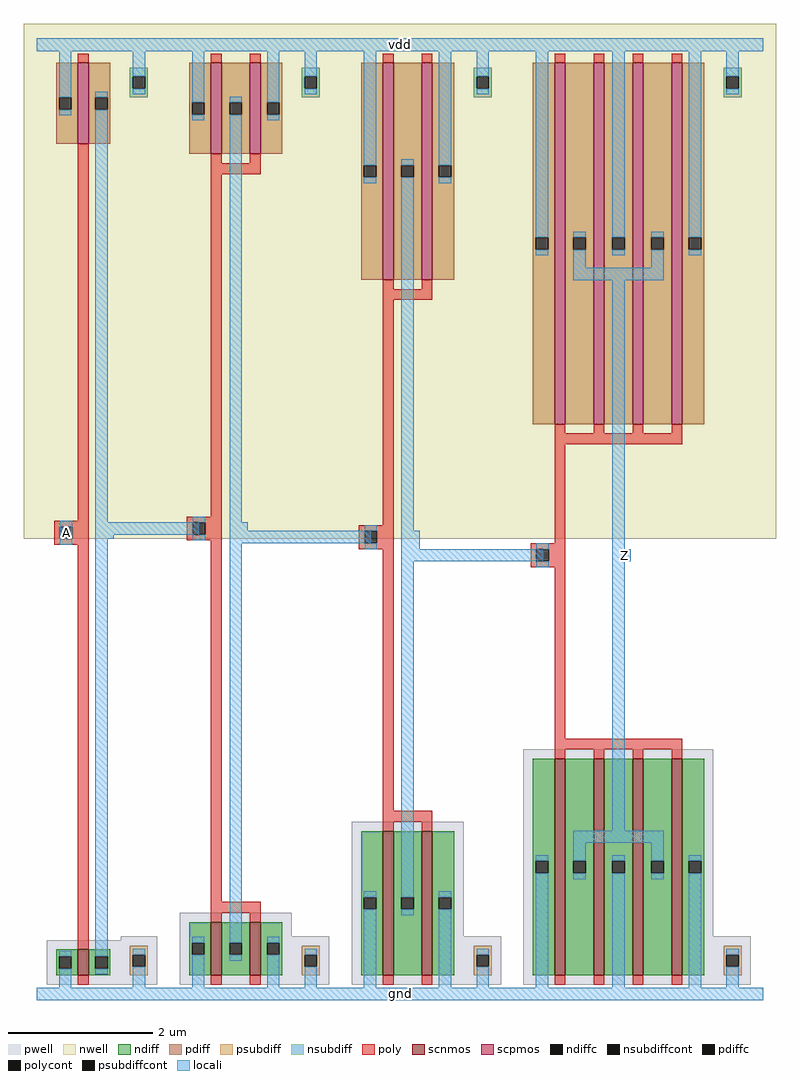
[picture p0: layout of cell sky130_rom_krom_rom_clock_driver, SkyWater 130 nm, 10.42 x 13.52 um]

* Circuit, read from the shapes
.subckt sky130_rom_krom_rom_clock_driver Z A gnd vdd
XM1 sky130_rom_krom_pinv_0_0/A A gnd gnd sky130_fd_pr__nfet_01v8 w=0.36 l=0.15
XM2 sky130_rom_krom_pinv_1_0/A sky130_rom_krom_pinv_0_0/A gnd gnd sky130_fd_pr__nfet_01v8 w=0.74 l=0.15 m=2
XM3 sky130_rom_krom_pinv_2_0/A sky130_rom_krom_pinv_1_0/A gnd gnd sky130_fd_pr__nfet_01v8 w=2 l=0.15 m=2
XM4 Z sky130_rom_krom_pinv_2_0/A gnd gnd sky130_fd_pr__nfet_01v8 w=3 l=0.15 m=4
XM5 sky130_rom_krom_pinv_0_0/A A vdd vdd sky130_fd_pr__pfet_01v8 w=1.12 l=0.15
XM6 sky130_rom_krom_pinv_1_0/A sky130_rom_krom_pinv_0_0/A vdd vdd sky130_fd_pr__pfet_01v8 w=1.26 l=0.15 m=2
XM7 sky130_rom_krom_pinv_2_0/A sky130_rom_krom_pinv_1_0/A vdd vdd sky130_fd_pr__pfet_01v8 w=3 l=0.15 m=2
XM8 Z sky130_rom_krom_pinv_2_0/A vdd vdd sky130_fd_pr__pfet_01v8 w=5 l=0.15 m=4
.ends

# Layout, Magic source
magic
tech sky130A
magscale 1 2
<< nwell >>
rect -36 1261 2048 2686
<< locali >>
rect 0 2611 2012 2645
rect 64 1244 98 1310
rect 179 1272 449 1306
rect 551 1282 585 1289
rect 551 1248 925 1282
rect 1027 1232 1061 1265
rect 1027 1198 1401 1232
rect 1611 1198 1645 1232
rect 0 -17 2012 17
use sky130_rom_krom_pinv  sky130_rom_krom_pinv_0
transform 1 0 0 0 1 0
box -36 -17 404 2686
use sky130_rom_krom_pinv_0  sky130_rom_krom_pinv_0_0
transform 1 0 368 0 1 0
box -36 -17 512 2686
use sky130_rom_krom_pinv_1  sky130_rom_krom_pinv_1_0
transform 1 0 844 0 1 0
box -36 -17 512 2686
use sky130_rom_krom_pinv_2  sky130_rom_krom_pinv_2_0
transform 1 0 1320 0 1 0
box -36 -17 728 2686
<< labels >>
rlabel locali s 1628 1215 1628 1215 4 Z
port 1 nsew
rlabel locali s 81 1277 81 1277 4 A
port 2 nsew
rlabel locali s 1006 0 1006 0 4 gnd
port 3 nsew
rlabel locali s 1006 2628 1006 2628 4 vdd
port 4 nsew
<< properties >>
string FIXED_BBOX 0 0 2012 2628
<< end >>

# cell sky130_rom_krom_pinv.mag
magic
tech sky130A
magscale 1 2
<< nwell >>
rect -36 1262 404 2686
<< pwell >>
rect 232 149 334 159
rect 28 25 334 149
<< scnmos >>
rect 114 51 144 123
<< scpmos >>
rect 114 2354 144 2578
<< ndiff >>
rect 54 104 114 123
rect 54 70 62 104
rect 96 70 114 104
rect 54 51 114 70
rect 144 104 204 123
rect 144 70 162 104
rect 196 70 204 104
rect 144 51 204 70
<< pdiff >>
rect 54 2483 114 2578
rect 54 2449 62 2483
rect 96 2449 114 2483
rect 54 2354 114 2449
rect 144 2483 204 2578
rect 144 2449 162 2483
rect 196 2449 204 2483
rect 144 2354 204 2449
<< ndiffc >>
rect 62 70 96 104
rect 162 70 196 104
<< pdiffc >>
rect 62 2449 96 2483
rect 162 2449 196 2483
<< psubdiff >>
rect 258 109 308 133
rect 258 75 266 109
rect 300 75 308 109
rect 258 51 308 75
<< nsubdiff >>
rect 258 2541 308 2565
rect 258 2507 266 2541
rect 300 2507 308 2541
rect 258 2483 308 2507
<< psubdiffcont >>
rect 266 75 300 109
<< nsubdiffcont >>
rect 266 2507 300 2541
<< poly >>
rect 114 2578 144 2604
rect 114 1310 144 2354
rect 48 1294 144 1310
rect 48 1260 64 1294
rect 98 1260 144 1294
rect 48 1244 144 1260
rect 114 123 144 1244
rect 114 25 144 51
<< polycont >>
rect 64 1260 98 1294
<< locali >>
rect 0 2612 368 2646
rect 62 2483 96 2612
rect 266 2541 300 2612
rect 62 2433 96 2449
rect 162 2483 196 2499
rect 266 2491 300 2507
rect 64 1294 98 1310
rect 64 1244 98 1260
rect 162 1294 196 2449
rect 162 1260 213 1294
rect 62 104 96 120
rect 62 17 96 70
rect 162 104 196 1260
rect 162 54 196 70
rect 266 109 300 125
rect 266 17 300 75
rect 0 -17 368 17
<< labels >>
rlabel locali s 81 1277 81 1277 4 A
port 1 nsew
rlabel locali s 196 1277 196 1277 4 Z
port 2 nsew
rlabel locali s 184 0 184 0 4 gnd
port 3 nsew
rlabel locali s 184 2629 184 2629 4 vdd
port 4 nsew
<< properties >>
string FIXED_BBOX 0 0 368 2382
<< end >>

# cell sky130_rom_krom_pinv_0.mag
magic
tech sky130A
magscale 1 2
<< nwell >>
rect -36 1262 512 2686
<< pwell >>
rect 28 159 338 225
rect 28 25 442 159
<< scnmos >>
rect 114 51 144 199
rect 222 51 252 199
<< scpmos >>
rect 114 2326 144 2578
rect 222 2326 252 2578
<< ndiff >>
rect 54 142 114 199
rect 54 108 62 142
rect 96 108 114 142
rect 54 51 114 108
rect 144 142 222 199
rect 144 108 166 142
rect 200 108 222 142
rect 144 51 222 108
rect 252 142 312 199
rect 252 108 270 142
rect 304 108 312 142
rect 252 51 312 108
<< pdiff >>
rect 54 2469 114 2578
rect 54 2435 62 2469
rect 96 2435 114 2469
rect 54 2326 114 2435
rect 144 2469 222 2578
rect 144 2435 166 2469
rect 200 2435 222 2469
rect 144 2326 222 2435
rect 252 2469 312 2578
rect 252 2435 270 2469
rect 304 2435 312 2469
rect 252 2326 312 2435
<< ndiffc >>
rect 62 108 96 142
rect 166 108 200 142
rect 270 108 304 142
<< pdiffc >>
rect 62 2435 96 2469
rect 166 2435 200 2469
rect 270 2435 304 2469
<< psubdiff >>
rect 366 109 416 133
rect 366 75 374 109
rect 408 75 416 109
rect 366 51 416 75
<< nsubdiff >>
rect 366 2541 416 2565
rect 366 2507 374 2541
rect 408 2507 416 2541
rect 366 2483 416 2507
<< psubdiffcont >>
rect 374 75 408 109
<< nsubdiffcont >>
rect 374 2507 408 2541
<< poly >>
rect 114 2578 144 2604
rect 222 2578 252 2604
rect 114 2300 144 2326
rect 222 2300 252 2326
rect 114 2270 252 2300
rect 114 1322 144 2270
rect 48 1306 144 1322
rect 48 1272 64 1306
rect 98 1272 144 1306
rect 48 1256 144 1272
rect 114 255 144 1256
rect 114 225 252 255
rect 114 199 144 225
rect 222 199 252 225
rect 114 25 144 51
rect 222 25 252 51
<< polycont >>
rect 64 1272 98 1306
<< locali >>
rect 0 2612 476 2646
rect 62 2469 96 2612
rect 62 2419 96 2435
rect 166 2469 200 2485
rect 64 1306 98 1322
rect 64 1256 98 1272
rect 166 1306 200 2435
rect 270 2469 304 2612
rect 374 2541 408 2612
rect 374 2491 408 2507
rect 270 2419 304 2435
rect 166 1272 217 1306
rect 62 142 96 158
rect 62 17 96 108
rect 166 142 200 1272
rect 166 92 200 108
rect 270 142 304 158
rect 270 17 304 108
rect 374 109 408 125
rect 374 17 408 75
rect 0 -17 476 17
<< labels >>
rlabel locali s 81 1289 81 1289 4 A
port 1 nsew
rlabel locali s 200 1289 200 1289 4 Z
port 2 nsew
rlabel locali s 238 0 238 0 4 gnd
port 3 nsew
rlabel locali s 238 2629 238 2629 4 vdd
port 4 nsew
<< properties >>
string FIXED_BBOX 0 0 476 2368
<< end >>

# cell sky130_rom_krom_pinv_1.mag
magic
tech sky130A
magscale 1 2
<< nwell >>
rect -36 1262 512 2686
<< pwell >>
rect 28 159 338 477
rect 28 25 442 159
<< scnmos >>
rect 114 51 144 451
rect 222 51 252 451
<< scpmos >>
rect 114 1978 144 2578
rect 222 1978 252 2578
<< ndiff >>
rect 54 268 114 451
rect 54 234 62 268
rect 96 234 114 268
rect 54 51 114 234
rect 144 268 222 451
rect 144 234 166 268
rect 200 234 222 268
rect 144 51 222 234
rect 252 268 312 451
rect 252 234 270 268
rect 304 234 312 268
rect 252 51 312 234
<< pdiff >>
rect 54 2295 114 2578
rect 54 2261 62 2295
rect 96 2261 114 2295
rect 54 1978 114 2261
rect 144 2295 222 2578
rect 144 2261 166 2295
rect 200 2261 222 2295
rect 144 1978 222 2261
rect 252 2295 312 2578
rect 252 2261 270 2295
rect 304 2261 312 2295
rect 252 1978 312 2261
<< ndiffc >>
rect 62 234 96 268
rect 166 234 200 268
rect 270 234 304 268
<< pdiffc >>
rect 62 2261 96 2295
rect 166 2261 200 2295
rect 270 2261 304 2295
<< psubdiff >>
rect 366 109 416 133
rect 366 75 374 109
rect 408 75 416 109
rect 366 51 416 75
<< nsubdiff >>
rect 366 2541 416 2565
rect 366 2507 374 2541
rect 408 2507 416 2541
rect 366 2483 416 2507
<< psubdiffcont >>
rect 374 75 408 109
<< nsubdiffcont >>
rect 374 2507 408 2541
<< poly >>
rect 114 2578 144 2604
rect 222 2578 252 2604
rect 114 1952 144 1978
rect 222 1952 252 1978
rect 114 1922 252 1952
rect 114 1298 144 1922
rect 48 1282 144 1298
rect 48 1248 64 1282
rect 98 1248 144 1282
rect 48 1232 144 1248
rect 114 507 144 1232
rect 114 477 252 507
rect 114 451 144 477
rect 222 451 252 477
rect 114 25 144 51
rect 222 25 252 51
<< polycont >>
rect 64 1248 98 1282
<< locali >>
rect 0 2612 476 2646
rect 62 2295 96 2612
rect 62 2245 96 2261
rect 166 2295 200 2311
rect 64 1282 98 1298
rect 64 1232 98 1248
rect 166 1282 200 2261
rect 270 2295 304 2612
rect 374 2541 408 2612
rect 374 2491 408 2507
rect 270 2245 304 2261
rect 166 1248 217 1282
rect 62 268 96 284
rect 62 17 96 234
rect 166 268 200 1248
rect 166 218 200 234
rect 270 268 304 284
rect 270 17 304 234
rect 374 109 408 125
rect 374 17 408 75
rect 0 -17 476 17
<< labels >>
rlabel locali s 81 1265 81 1265 4 A
port 1 nsew
rlabel locali s 200 1265 200 1265 4 Z
port 2 nsew
rlabel locali s 238 0 238 0 4 gnd
port 3 nsew
rlabel locali s 238 2629 238 2629 4 vdd
port 4 nsew
<< properties >>
string FIXED_BBOX 0 0 476 2194
<< end >>

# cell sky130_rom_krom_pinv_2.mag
magic
tech sky130A
magscale 1 2
<< nwell >>
rect -36 1262 728 2686
<< pwell >>
rect 28 159 554 677
rect 28 25 658 159
<< scnmos >>
rect 114 51 144 651
rect 222 51 252 651
rect 330 51 360 651
rect 438 51 468 651
<< scpmos >>
rect 114 1578 144 2578
rect 222 1578 252 2578
rect 330 1578 360 2578
rect 438 1578 468 2578
<< ndiff >>
rect 54 368 114 651
rect 54 334 62 368
rect 96 334 114 368
rect 54 51 114 334
rect 144 368 222 651
rect 144 334 166 368
rect 200 334 222 368
rect 144 51 222 334
rect 252 368 330 651
rect 252 334 274 368
rect 308 334 330 368
rect 252 51 330 334
rect 360 368 438 651
rect 360 334 382 368
rect 416 334 438 368
rect 360 51 438 334
rect 468 368 528 651
rect 468 334 486 368
rect 520 334 528 368
rect 468 51 528 334
<< pdiff >>
rect 54 2095 114 2578
rect 54 2061 62 2095
rect 96 2061 114 2095
rect 54 1578 114 2061
rect 144 2095 222 2578
rect 144 2061 166 2095
rect 200 2061 222 2095
rect 144 1578 222 2061
rect 252 2095 330 2578
rect 252 2061 274 2095
rect 308 2061 330 2095
rect 252 1578 330 2061
rect 360 2095 438 2578
rect 360 2061 382 2095
rect 416 2061 438 2095
rect 360 1578 438 2061
rect 468 2095 528 2578
rect 468 2061 486 2095
rect 520 2061 528 2095
rect 468 1578 528 2061
<< ndiffc >>
rect 62 334 96 368
rect 166 334 200 368
rect 274 334 308 368
rect 382 334 416 368
rect 486 334 520 368
<< pdiffc >>
rect 62 2061 96 2095
rect 166 2061 200 2095
rect 274 2061 308 2095
rect 382 2061 416 2095
rect 486 2061 520 2095
<< psubdiff >>
rect 582 109 632 133
rect 582 75 590 109
rect 624 75 632 109
rect 582 51 632 75
<< nsubdiff >>
rect 582 2541 632 2565
rect 582 2507 590 2541
rect 624 2507 632 2541
rect 582 2483 632 2507
<< psubdiffcont >>
rect 590 75 624 109
<< nsubdiffcont >>
rect 590 2507 624 2541
<< poly >>
rect 114 2578 144 2604
rect 222 2578 252 2604
rect 330 2578 360 2604
rect 438 2578 468 2604
rect 114 1552 144 1578
rect 222 1552 252 1578
rect 330 1552 360 1578
rect 438 1552 468 1578
rect 114 1522 468 1552
rect 114 1248 144 1522
rect 48 1232 144 1248
rect 48 1198 64 1232
rect 98 1198 144 1232
rect 48 1182 144 1198
rect 114 707 144 1182
rect 114 677 468 707
rect 114 651 144 677
rect 222 651 252 677
rect 330 651 360 677
rect 438 651 468 677
rect 114 25 144 51
rect 222 25 252 51
rect 330 25 360 51
rect 438 25 468 51
<< polycont >>
rect 64 1198 98 1232
<< locali >>
rect 0 2612 692 2646
rect 62 2095 96 2612
rect 62 2045 96 2061
rect 166 2095 200 2111
rect 166 2011 200 2061
rect 274 2095 308 2612
rect 274 2045 308 2061
rect 382 2095 416 2111
rect 382 2011 416 2061
rect 486 2095 520 2612
rect 590 2541 624 2612
rect 590 2491 624 2507
rect 486 2045 520 2061
rect 166 1977 416 2011
rect 64 1232 98 1248
rect 64 1182 98 1198
rect 274 1232 308 1977
rect 274 1198 325 1232
rect 274 452 308 1198
rect 166 418 416 452
rect 62 368 96 384
rect 62 17 96 334
rect 166 368 200 418
rect 166 318 200 334
rect 274 368 308 384
rect 274 17 308 334
rect 382 368 416 418
rect 382 318 416 334
rect 486 368 520 384
rect 486 17 520 334
rect 590 109 624 125
rect 590 17 624 75
rect 0 -17 692 17
<< labels >>
rlabel locali s 81 1215 81 1215 4 A
port 1 nsew
rlabel locali s 308 1215 308 1215 4 Z
port 2 nsew
rlabel locali s 346 0 346 0 4 gnd
port 3 nsew
rlabel locali s 346 2629 346 2629 4 vdd
port 4 nsew
<< properties >>
string FIXED_BBOX 0 0 692 1994
<< end >>
